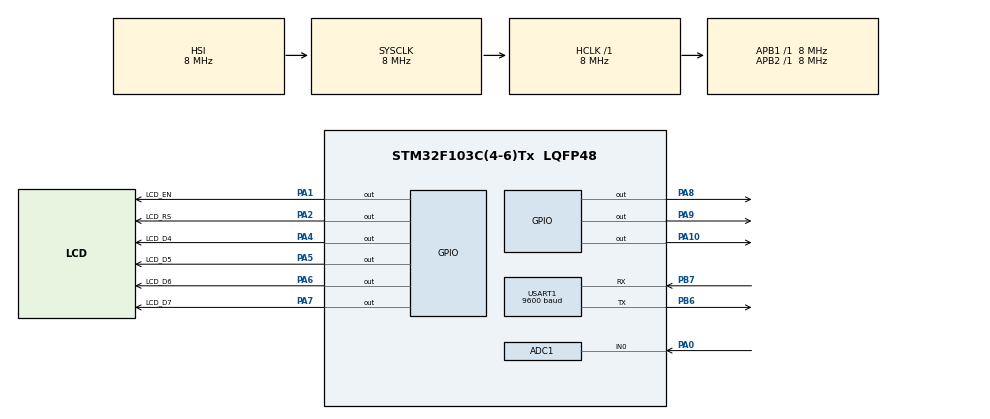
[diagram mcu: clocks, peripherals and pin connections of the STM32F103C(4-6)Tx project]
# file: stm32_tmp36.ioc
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ADC1.Channel-0\#ChannelRegularConversion=ADC_CHANNEL_0
ADC1.NbrOfConversionFlag=1
ADC1.Rank-0\#ChannelRegularConversion=1
ADC1.SamplingTime-0\#ChannelRegularConversion=ADC_SAMPLETIME_1CYCLE_5
ADC1.master=1
Mcu.Family=STM32F1
Mcu.Name=STM32F103C(4-6)Tx
Mcu.Package=LQFP48
NVIC.PriorityGroup=NVIC_PRIORITYGROUP_4
PA0-WKUP.Signal=ADCx_IN0
PA1.GPIO_Label=LCD_EN
PA1.Signal=GPIO_Output
PA10.Signal=GPIO_Output
PA13.Mode=Serial_Wire
PA13.Signal=SYS_JTMS-SWDIO
PA14.Mode=Serial_Wire
PA14.Signal=SYS_JTCK-SWCLK
PA2.GPIO_Label=LCD_RS
PA2.Signal=GPIO_Output
PA4.GPIO_Label=LCD_D4
PA4.Signal=GPIO_Output
PA5.GPIO_Label=LCD_D5
PA5.Signal=GPIO_Output
PA6.GPIO_Label=LCD_D6
PA6.Signal=GPIO_Output
PA7.GPIO_Label=LCD_D7
PA7.Signal=GPIO_Output
PA8.Signal=GPIO_Output
PA9.Signal=GPIO_Output
PB6.Mode=Asynchronous
PB6.Signal=USART1_TX
PB7.Mode=Asynchronous
PB7.Signal=USART1_RX
PD0-OSC_IN.Mode=HSE-External-Oscillator
PD0-OSC_IN.Signal=RCC_OSC_IN
PD1-OSC_OUT.Mode=HSE-External-Oscillator
PD1-OSC_OUT.Signal=RCC_OSC_OUT
ProjectManager.HeapSize=0x200
ProjectManager.StackSize=0x400
ProjectManager.TargetToolchain=STM32CubeIDE
RCC.AHBFreq_Value=8000000
RCC.APB1Freq_Value=8000000
RCC.APB1TimFreq_Value=8000000
RCC.APB2Freq_Value=8000000
RCC.APB2TimFreq_Value=8000000
RCC.HCLKFreq_Value=8000000
RCC.SYSCLKFreq_VALUE=8000000
RCC.USBFreq_Value=8000000
SH.ADCx_IN0.0=ADC1_IN0,IN0
USART1.BaudRate=9600
USART1.VirtualMode=VM_ASYNC
board=custom

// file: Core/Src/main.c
/* USER CODE BEGIN Header */
/**
  ******************************************************************************
  * @file           : main.c
  * @brief          : Main program body
  ******************************************************************************
  * @attention
  *
  * Copyright (c) 2024 STMicroelectronics.
  * All rights reserved.
  *
  * This software is licensed under terms that can be found in the LICENSE file
  * in the root directory of this software component.
  * If no LICENSE file comes with this software, it is provided AS-IS.
  *
  ******************************************************************************
  */
/* USER CODE END Header */
#include "main.h"

/* USER CODE BEGIN Includes */

#include "string.h"
#include "stdio.h"
#include "LCD.h"

char displayString[20];
uint32_t adc_value;
char *uartData = "Hello Eren\n\r";

uint32_t lcd_value = 5;

float voltage_vm = 0;
float temperature_c = 0;

/* USER CODE END Includes */

ADC_HandleTypeDef hadc1;

UART_HandleTypeDef huart1;

void SystemClock_Config(void);
static void MX_GPIO_Init(void);
static void MX_USART1_UART_Init(void);
static void MX_ADC1_Init(void);

int main(void)
{

  /* MCU Configuration--------------------------------------------------------*/

  /* Reset of all peripherals, Initializes the Flash interface and the Systick. */
  HAL_Init();

  /* Configure the system clock */
  SystemClock_Config();

  /* Initialize all configured peripherals */
  MX_GPIO_Init();
  MX_USART1_UART_Init();
  MX_ADC1_Init();
  /* USER CODE BEGIN 2 */

  lcd_init(_LCD_4BIT, _LCD_FONT_5x8, _LCD_2LINE);
  lcd_cmd(_LCD_INIT);

  /* USER CODE END 2 */

  /* Infinite loop */
  while (1)
  {

    /* USER CODE BEGIN 3 */

	  HAL_ADC_Start(&hadc1);

	  HAL_Delay(10);

	  HAL_ADC_PollForConversion(&hadc1, 10);

	  adc_value = HAL_ADC_GetValue(&hadc1);

	  voltage_vm = (adc_value / 4096.0) * 5;
	  temperature_c = ((voltage_vm * 1000.0) - 500.0) / 10.0;

	  if(adc_value > 2040)
	  {
		  HAL_GPIO_WritePin(GPIOA,GPIO_PIN_8,GPIO_PIN_SET);
		  HAL_GPIO_WritePin(GPIOA,GPIO_PIN_9,GPIO_PIN_RESET);
		  HAL_GPIO_WritePin(GPIOA,GPIO_PIN_10,GPIO_PIN_RESET);
	  }
	  else if(adc_value <= 2040)
	  {
		  HAL_GPIO_WritePin(GPIOA,GPIO_PIN_8,GPIO_PIN_RESET);
		  HAL_GPIO_WritePin(GPIOA,GPIO_PIN_9,GPIO_PIN_SET);
		  HAL_GPIO_WritePin(GPIOA,GPIO_PIN_10,GPIO_PIN_RESET);
	  }
	  else if(adc_value == 0)
	  {
		  HAL_GPIO_WritePin(GPIOA,GPIO_PIN_10,GPIO_PIN_SET);
		  HAL_GPIO_WritePin(GPIOA,GPIO_PIN_8,GPIO_PIN_RESET);
		  HAL_GPIO_WritePin(GPIOA,GPIO_PIN_9,GPIO_PIN_RESET);
	  }

	  sprintf(displayString,"Temp: %.2f C\n\r",temperature_c);

	  HAL_UART_Transmit(&huart1,(uint8_t *)displayString, strlen(displayString),100);
	  HAL_Delay(1);

	  lcd_print(1, 1,displayString);
	  HAL_Delay(500);

	  lcd_clear();

  }
  /* USER CODE END 3 */
}

void SystemClock_Config(void)
{
  RCC_OscInitTypeDef RCC_OscInitStruct = {0};
  RCC_ClkInitTypeDef RCC_ClkInitStruct = {0};
  RCC_PeriphCLKInitTypeDef PeriphClkInit = {0};

  /** Initializes the RCC Oscillators according to the specified parameters
  * in the RCC_OscInitTypeDef structure.
  */
  RCC_OscInitStruct.OscillatorType = RCC_OSCILLATORTYPE_HSI;
  RCC_OscInitStruct.HSIState = RCC_HSI_ON;
  RCC_OscInitStruct.HSICalibrationValue = RCC_HSICALIBRATION_DEFAULT;
  RCC_OscInitStruct.PLL.PLLState = RCC_PLL_NONE;
  if (HAL_RCC_OscConfig(&RCC_OscInitStruct) != HAL_OK)
  {
    Error_Handler();
  }

  /** Initializes the CPU, AHB and APB buses clocks
  */
  RCC_ClkInitStruct.ClockType = RCC_CLOCKTYPE_HCLK|RCC_CLOCKTYPE_SYSCLK
                              |RCC_CLOCKTYPE_PCLK1|RCC_CLOCKTYPE_PCLK2;
  RCC_ClkInitStruct.SYSCLKSource = RCC_SYSCLKSOURCE_HSI;
  RCC_ClkInitStruct.AHBCLKDivider = RCC_SYSCLK_DIV1;
  RCC_ClkInitStruct.APB1CLKDivider = RCC_HCLK_DIV1;
  RCC_ClkInitStruct.APB2CLKDivider = RCC_HCLK_DIV1;

  if (HAL_RCC_ClockConfig(&RCC_ClkInitStruct, FLASH_LATENCY_0) != HAL_OK)
  {
    Error_Handler();
  }
  PeriphClkInit.PeriphClockSelection = RCC_PERIPHCLK_ADC;
  PeriphClkInit.AdcClockSelection = RCC_ADCPCLK2_DIV2;
  if (HAL_RCCEx_PeriphCLKConfig(&PeriphClkInit) != HAL_OK)
  {
    Error_Handler();
  }
}

static void MX_ADC1_Init(void)
{

  ADC_ChannelConfTypeDef sConfig = {0};

  /** Common config
  */
  hadc1.Instance = ADC1;
  hadc1.Init.ScanConvMode = ADC_SCAN_DISABLE;
  hadc1.Init.ContinuousConvMode = DISABLE;
  hadc1.Init.DiscontinuousConvMode = DISABLE;
  hadc1.Init.ExternalTrigConv = ADC_SOFTWARE_START;
  hadc1.Init.DataAlign = ADC_DATAALIGN_RIGHT;
  hadc1.Init.NbrOfConversion = 1;
  if (HAL_ADC_Init(&hadc1) != HAL_OK)
  {
    Error_Handler();
  }

  /** Configure Regular Channel
  */
  sConfig.Channel = ADC_CHANNEL_0;
  sConfig.Rank = ADC_REGULAR_RANK_1;
  sConfig.SamplingTime = ADC_SAMPLETIME_1CYCLE_5;
  if (HAL_ADC_ConfigChannel(&hadc1, &sConfig) != HAL_OK)
  {
    Error_Handler();
  }

}

static void MX_USART1_UART_Init(void)
{

  huart1.Instance = USART1;
  huart1.Init.BaudRate = 9600;
  huart1.Init.WordLength = UART_WORDLENGTH_8B;
  huart1.Init.StopBits = UART_STOPBITS_1;
  huart1.Init.Parity = UART_PARITY_NONE;
  huart1.Init.Mode = UART_MODE_TX_RX;
  huart1.Init.HwFlowCtl = UART_HWCONTROL_NONE;
  huart1.Init.OverSampling = UART_OVERSAMPLING_16;
  if (HAL_UART_Init(&huart1) != HAL_OK)
  {
    Error_Handler();
  }

}

static void MX_GPIO_Init(void)
{
  GPIO_InitTypeDef GPIO_InitStruct = {0};

  /* GPIO Ports Clock Enable */
  __HAL_RCC_GPIOD_CLK_ENABLE();
  __HAL_RCC_GPIOA_CLK_ENABLE();
  __HAL_RCC_GPIOB_CLK_ENABLE();

  /*Configure GPIO pin Output Level */
  HAL_GPIO_WritePin(GPIOA, LCD_EN_Pin|LCD_RS_Pin|LCD_D4_Pin|LCD_D5_Pin
                          |LCD_D6_Pin|LCD_D7_Pin|GPIO_PIN_8|GPIO_PIN_9
                          |GPIO_PIN_10, GPIO_PIN_RESET);

  /*Configure GPIO pins : LCD_EN_Pin LCD_RS_Pin LCD_D4_Pin LCD_D5_Pin
                           LCD_D6_Pin LCD_D7_Pin PA8 PA9
                           PA10 */
  GPIO_InitStruct.Pin = LCD_EN_Pin|LCD_RS_Pin|LCD_D4_Pin|LCD_D5_Pin
                          |LCD_D6_Pin|LCD_D7_Pin|GPIO_PIN_8|GPIO_PIN_9
                          |GPIO_PIN_10;
  GPIO_InitStruct.Mode = GPIO_MODE_OUTPUT_PP;
  GPIO_InitStruct.Pull = GPIO_NOPULL;
  GPIO_InitStruct.Speed = GPIO_SPEED_FREQ_LOW;
  HAL_GPIO_Init(GPIOA, &GPIO_InitStruct);

}

void Error_Handler(void)
{
  __disable_irq();
  while (1)
  {
  }
}
